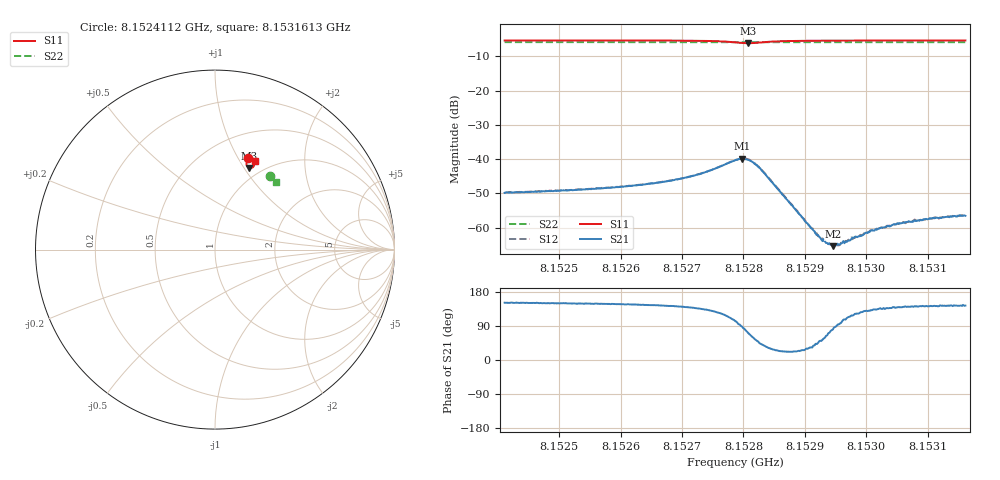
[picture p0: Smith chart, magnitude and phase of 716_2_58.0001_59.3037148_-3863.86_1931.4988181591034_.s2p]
#  HZ  S  RI  R  50.00
! Rohde & Schwarz Vector Network Analyzer
! Rohde-Schwarz,ZNB20-2Port,1311601062101988,3.16
! Created: UTC 3/21/2024, 1:22:23 AM
! freq[Hz]  re:S11  im:S11  re:S21  im:S21  re:S12  im:S12  re:S22  im:S22
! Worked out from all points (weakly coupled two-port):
!   401 points, 8.1524112 GHz to 8.1531613 GHz, reference 50 ohm
!   highest |S21| = -39.86 dB at 8.1527975 GHz (marker M1); lowest = -65.4 dB at 8.1529457 GHz (marker M2)
!   lowest |S11| = -6.1 dB at 8.1528069 GHz (marker M3), VSWR 2.95, Z = 43.8 + j52.7 ohm
!   |S11| at or under -10 dB: nowhere
!   |S22| runs from -5.9 to -5.8 dB; largest |S21 - S12| = 0.00027
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8.15241122e9  0.1836 0.5083  -0.00282 0.00155  -0.00281 0.00158  0.3062 0.4094
8.15253686e9  0.1936 0.5044  -0.00306 0.00185  -0.00306 0.00193  0.3124 0.4044
8.15260062e9  0.1993 0.5019  -0.00331 0.00212  -0.00332 0.0022  0.3157 0.4019
8.1526625e9  0.2057 0.4984  -0.00371 0.00268  -0.00368 0.00274  0.3187 0.3991
8.15270001e9  0.2105 0.4947  -0.00404 0.00331  -0.00404 0.00335  0.3206 0.3975
8.15272814e9  0.2148 0.4899  -0.00431 0.0042  -0.00429 0.00428  0.322 0.3961
8.15278627e9  0.2131 0.4611  -0.00222 0.00936  -0.00213 0.0094  0.3243 0.393
8.15279752e9  0.202 0.4548  0.00031 0.0102  0.000366 0.0102  0.3243 0.3925
8.1528069e9  0.1898 0.4553  0.00284 0.00936  0.00282 0.00955  0.3242 0.3921
8.1528144e9  0.1814 0.4608  0.00441 0.00797  0.0045 0.00811  0.3245 0.3922
8.15282565e9  0.1755 0.4725  0.0053 0.00531  0.00531 0.00553  0.325 0.3922
8.15285753e9  0.1833 0.4931  0.0032 0.00143  0.0033 0.00143  0.327 0.3916
8.15291191e9  0.198 0.4985  0.000802 0.000523  0.000813 0.000529  0.3301 0.3894
8.15292504e9  0.2003 0.4986  0.000446 0.000549  0.000455 0.000503  0.3308 0.3888
8.15293441e9  0.2018 0.4985  0.000262 0.000534  0.000278 0.000517  0.3312 0.3885
8.15294567e9  0.2036 0.4984  8.5e-05 0.000528  0.000132 0.000563  0.3319 0.3879
8.15295692e9  0.2049 0.4981  -6.02e-05 0.000562  -7.54e-05 0.000552  0.3323 0.3875
8.15300942e9  0.211 0.4969  -0.000605 0.000682  -0.00061 0.000675  0.335 0.3853
8.15303755e9  0.2138 0.4962  -0.000759 0.000706  -0.000765 0.000726  0.3362 0.3839
8.15307693e9  0.2173 0.495  -0.000946 0.000786  -0.000984 0.000816  0.3382 0.3823
8.15310506e9  0.2196 0.4941  -0.00108 0.000821  -0.00107 0.000833  0.3395 0.381
8.15316132e9  0.2239 0.4924  -0.00119 0.000886  -0.00123 0.000904  0.3421 0.3786
